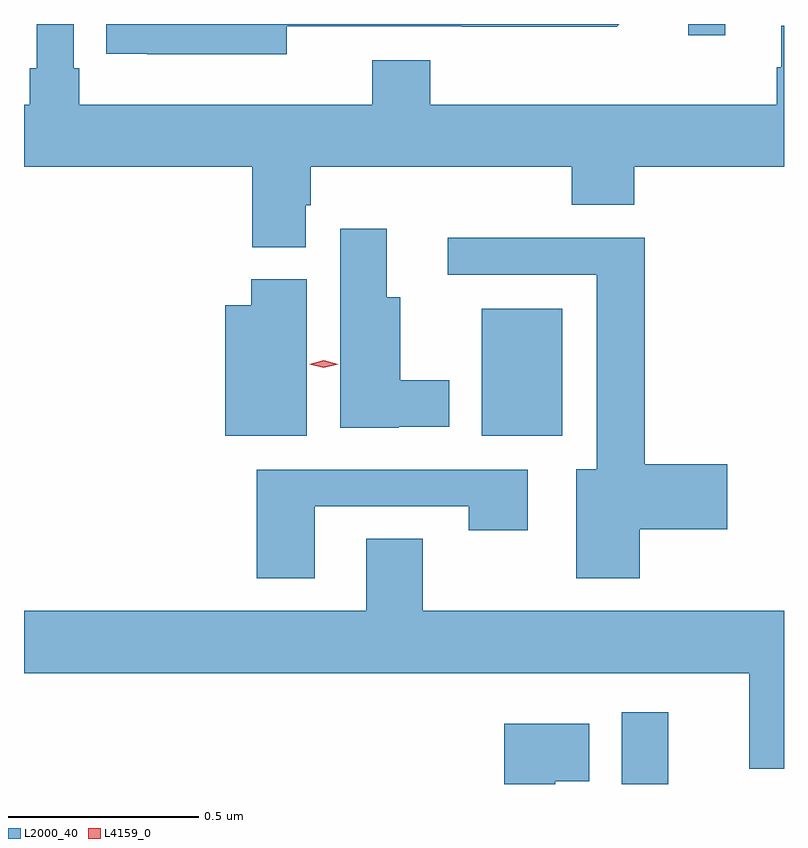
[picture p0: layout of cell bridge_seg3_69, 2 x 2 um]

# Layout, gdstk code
import gdstk
lib = gdstk.Library(unit=1e-6, precision=1e-09)
def R(c, l, rs):  # rectangles x0, y0, x1, y1
    for r in rs: c.add(gdstk.rectangle(r[:2], r[2:], *l))
def P(c, l, *ps):  # polygons
    for p in ps: c.add(gdstk.Polygon(p, *l))
L2000_40 = (2000, 40)
L4159_0 = (4159, 0)

bridge_seg3_69 = lib.new_cell('bridge_seg3_69')
R(bridge_seg3_69, L2000_40, [(509.981,672.652,510.103,672.841), (509.612,673.568,509.824,673.903), (510.156,674.622,510.253,674.652)])
P(bridge_seg3_69, L2000_40, [(509.149,674.175),(509.162,674.175),(509.162,674.276),(509.849,674.276),(509.849,674.177),(510.014,674.177),(510.014,674.276),(510.408,674.276),(510.408,674.648),(510.401,674.648),(510.401,674.538),(510.389,674.538),(510.389,674.44),(509.477,674.44),(509.477,674.557),(509.324,674.557),(509.324,674.44),(508.553,674.44),(508.553,674.536),(508.539,674.536),(508.539,674.652),(508.442,674.652),(508.442,674.536),(508.423,674.536),(508.423,674.44),(508.408,674.44),(508.408,674.276),(509.009,674.276),(509.009,674.065),(509.149,674.065)],
  [(509.1,674.646),(509.56,674.646),(509.56,674.645),(509.968,674.645),(509.975,674.652),(508.624,674.652),(508.624,674.574),(508.732,674.574),(508.732,674.573),(509.1,674.573)],
  [(509.394,673.592),(509.527,673.592),(509.527,673.714),(509.398,673.714),(509.398,673.933),(509.362,673.933),(509.362,674.113),(509.24,674.113),(509.24,673.589),(509.394,673.589)],
  [(510.028,673.322),(510.259,673.322),(510.259,673.493),(510.041,673.493),(510.041,674.09),(509.523,674.09),(509.523,673.992),(509.915,673.992),(509.915,673.48),(509.861,673.48),(509.861,673.194),(510.028,673.194)],
  [(509.152,673.98),(509.006,673.98),(509.006,673.912),(508.937,673.912),(508.937,673.568),(509.152,673.568)],
  [(509.173,673.383),(509.578,673.383),(509.578,673.32),(509.734,673.32),(509.734,673.479),(509.021,673.479),(509.021,673.194),(509.173,673.194)],
  [(510.408,673.108),(509.457,673.108),(509.457,673.298),(509.309,673.298),(509.309,673.108),(508.408,673.108),(508.408,672.944),(510.317,672.944),(510.317,672.692),(510.408,672.692)],
  [(509.806,672.659),(509.896,672.659),(509.896,672.811),(509.672,672.811),(509.672,672.652),(509.806,672.652)])
P(bridge_seg3_69, L4159_0, [(509.197,673.747),(509.159,673.756),(509.159,673.757),(509.159,673.757),(509.197,673.767),(509.235,673.757),(509.235,673.757),(509.235,673.756)])

lib.write_gds('bridge_seg3_69.gds')
